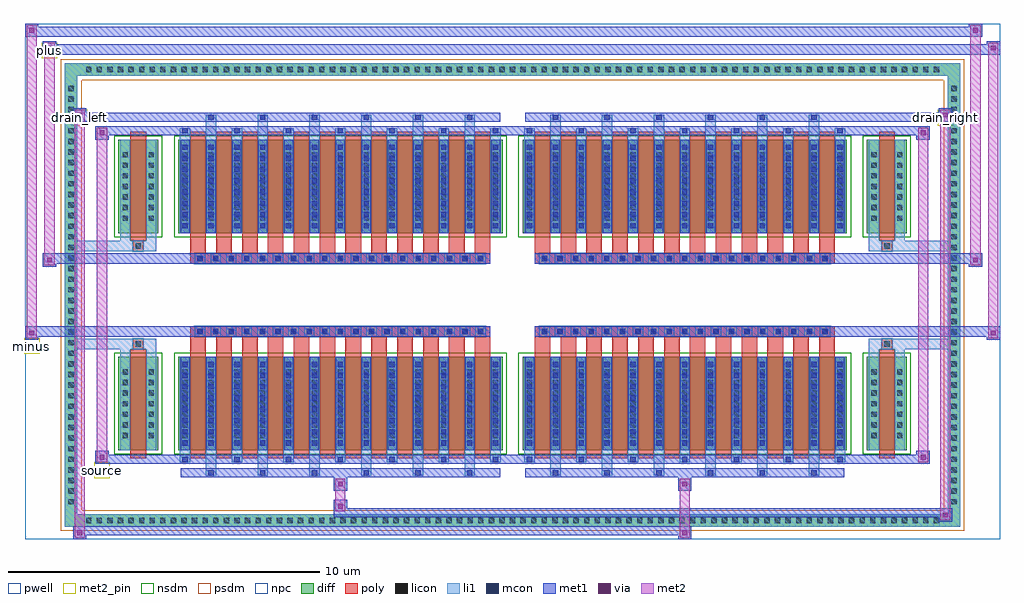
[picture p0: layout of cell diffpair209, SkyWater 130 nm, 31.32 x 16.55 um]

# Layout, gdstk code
import gdstk
lib = gdstk.Library(unit=1e-6, precision=5e-09)
def R(c, l, rs):  # rectangles x0, y0, x1, y1
    for r in rs: c.add(gdstk.rectangle(r[:2], r[2:], *l))
def A(c, l, x, y, w, h, nx, ny, dx, dy):  # array of equal rectangles
    R(c, l, [(x+i*dx, y+j*dy, x+i*dx+w, y+j*dy+h) for i in range(nx) for j in range(ny)])
def P(c, l, *ps):  # polygons
    for p in ps: c.add(gdstk.Polygon(p, *l))
pwell = (64, 44)
diff = (65, 20)
poly = (66, 20)
licon = (66, 44)
li1 = (67, 20)
mcon = (67, 44)
met1 = (68, 20)
via = (68, 44)
met2_pin = (69, 16)
met2 = (69, 20)
nsdm = (93, 44)
psdm = (94, 20)
npc = (95, 20)

diffpair209 = lib.new_cell('diffpair209')
R(diffpair209, pwell, [(-15.64,-7.84,15.64,8.71), (-12.96,-6.03,-0.01,-0.805), (0.01,-6.03,12.96,-0.805), (-12.96,0.805,-0.01,6.03), (0.01,0.805,12.96,6.03)])
A(diffpair209, diff, -13.805, -7.44, 0.41, 0.41, 81, 2, 0.34, 14.47)
A(diffpair209, diff, -14.37, -6.835, 0.41, 0.41, 1, 40, 0, 0.34)
A(diffpair209, diff, 13.96, -6.835, 0.41, 0.41, 1, 40, 0, 0.34)
R(diffpair209, diff, [(-13.805,-7.44,13.805,-7.03), (-14.37,-6.835,-13.96,6.835), (13.96,-6.835,14.37,6.835), (-12.65,-4.985,-11.37,-1.985), (-10.73,-4.985,-0.32,-1.985), (0.32,-4.985,10.73,-1.985), (11.37,-4.985,12.65,-1.985), (-12.65,1.985,-11.37,4.985), (-10.73,1.985,-0.32,4.985), (0.32,1.985,10.73,4.985), (11.37,1.985,12.65,4.985), (-13.805,7.03,13.805,7.44)])
P(diffpair209, diff, [(14.37,7.44),(-14.37,7.44),(-14.37,-7.03),(-13.96,-7.03),(-13.96,7.03),(13.96,7.03),(13.96,-7.03),(-13.96,-7.03),(-14.37,-7.03),(-14.37,-7.44),(14.37,-7.44)])
A(diffpair209, poly, -10.34, -5.235, 0.5, 3.5, 12, 2, 0.83, 6.97)
A(diffpair209, poly, 0.71, -5.235, 0.5, 3.5, 12, 2, 0.83, 6.97)
A(diffpair209, poly, -10.34, -1.735, 0.5, 0.4, 12, 2, 0.83, 3.07)
A(diffpair209, poly, 0.71, -1.735, 0.5, 0.4, 12, 2, 0.83, 3.07)
A(diffpair209, poly, -10.19, -1.335, 0.33, 0.33, 19, 2, 0.5, 2.34)
A(diffpair209, poly, 0.86, -1.335, 0.33, 0.33, 19, 2, 0.5, 2.34)
R(diffpair209, poly, [(-12.26,-5.235,-11.76,-1.735), (11.76,-5.235,12.26,-1.735), (-12.175,-1.735,-11.845,-1.405), (-12.175,-1.735,-11.845,-1.405), (11.845,-1.735,12.175,-1.405), (11.845,-1.735,12.175,-1.405), (-10.34,-1.335,-0.71,-1.005), (0.71,-1.335,10.34,-1.005), (-10.34,1.005,-0.71,1.335), (0.71,1.005,10.34,1.335), (-12.175,1.405,-11.845,1.735), (-12.175,1.405,-11.845,1.735), (11.845,1.405,12.175,1.735), (11.845,1.405,12.175,1.735), (-12.26,1.735,-11.76,5.235), (11.76,1.735,12.26,5.235)])
A(diffpair209, licon, -13.685, -7.32, 0.17, 0.17, 81, 2, 0.34, 14.47)
A(diffpair209, licon, -14.25, -6.715, 0.17, 0.17, 1, 40, 0, 0.34)
A(diffpair209, licon, 14.08, -6.715, 0.17, 0.17, 1, 40, 0, 0.34)
A(diffpair209, licon, -12.51, -4.59, 0.17, 0.17, 1, 7, 0, 0.34)
A(diffpair209, licon, -11.68, -4.59, 0.17, 0.17, 1, 7, 0, 0.34)
A(diffpair209, licon, -10.59, -4.59, 0.17, 0.17, 13, 7, 0.83, 0.34)
A(diffpair209, licon, 0.46, -4.59, 0.17, 0.17, 13, 7, 0.83, 0.34)
A(diffpair209, licon, 11.51, -4.59, 0.17, 0.17, 1, 7, 0, 0.34)
A(diffpair209, licon, 12.34, -4.59, 0.17, 0.17, 1, 7, 0, 0.34)
A(diffpair209, licon, -10.11, -1.255, 0.17, 0.17, 19, 2, 0.5, 2.34)
A(diffpair209, licon, 0.94, -1.255, 0.17, 0.17, 19, 2, 0.5, 2.34)
A(diffpair209, licon, -12.51, 2.38, 0.17, 0.17, 1, 7, 0, 0.34)
A(diffpair209, licon, -11.68, 2.38, 0.17, 0.17, 1, 7, 0, 0.34)
A(diffpair209, licon, -10.59, 2.38, 0.17, 0.17, 13, 7, 0.83, 0.34)
A(diffpair209, licon, 0.46, 2.38, 0.17, 0.17, 13, 7, 0.83, 0.34)
A(diffpair209, licon, 11.51, 2.38, 0.17, 0.17, 1, 7, 0, 0.34)
A(diffpair209, licon, 12.34, 2.38, 0.17, 0.17, 1, 7, 0, 0.34)
R(diffpair209, licon, [(-12.095,-1.655,-11.925,-1.485), (11.925,-1.655,12.095,-1.485), (-12.095,1.485,-11.925,1.655), (11.925,1.485,12.095,1.655)])
A(diffpair209, li1, -13.765, -7.4, 0.33, 0.33, 81, 2, 0.34, 14.47)
A(diffpair209, li1, -14.33, -6.795, 0.33, 0.33, 1, 40, 0, 0.34)
A(diffpair209, li1, 14, -6.795, 0.33, 0.33, 1, 40, 0, 0.34)
A(diffpair209, li1, -9.84, -5.79, 0.33, 0.805, 6, 2, 1.66, 10.775)
A(diffpair209, li1, -9.76, -5.79, 0.17, 0.17, 6, 2, 1.66, 11.41)
A(diffpair209, li1, 1.21, -5.79, 0.33, 0.805, 6, 2, 1.66, 10.775)
A(diffpair209, li1, 1.29, -5.79, 0.17, 0.17, 6, 2, 1.66, 11.41)
A(diffpair209, li1, -10.67, -5.36, 0.33, 0.375, 7, 2, 1.66, 10.345)
A(diffpair209, li1, -10.59, -5.36, 0.17, 0.17, 7, 2, 1.66, 10.55)
A(diffpair209, li1, 0.38, -5.36, 0.33, 0.375, 7, 2, 1.66, 10.345)
A(diffpair209, li1, 0.46, -5.36, 0.17, 0.17, 7, 2, 1.66, 10.55)
A(diffpair209, li1, -10.67, -4.985, 0.33, 3, 13, 2, 0.83, 6.97)
A(diffpair209, li1, 0.38, -4.985, 0.33, 3, 13, 2, 0.83, 6.97)
A(diffpair209, li1, -10.59, -4.83, 0.17, 0.17, 13, 8, 0.83, 0.36)
A(diffpair209, li1, -10.59, -4.83, 0.17, 2.69, 13, 2, 0.83, 6.97)
A(diffpair209, li1, 0.46, -4.83, 0.17, 0.17, 13, 8, 0.83, 0.36)
A(diffpair209, li1, 0.46, -4.83, 0.17, 2.69, 13, 2, 0.83, 6.97)
A(diffpair209, li1, -12.59, -4.67, 0.33, 0.33, 1, 7, 0, 0.34)
A(diffpair209, li1, -11.76, -4.67, 0.33, 0.33, 1, 7, 0, 0.34)
A(diffpair209, li1, -10.67, -4.67, 0.33, 0.33, 13, 7, 0.83, 0.34)
A(diffpair209, li1, 0.38, -4.67, 0.33, 0.33, 13, 7, 0.83, 0.34)
A(diffpair209, li1, 11.43, -4.67, 0.33, 0.33, 1, 7, 0, 0.34)
A(diffpair209, li1, 12.26, -4.67, 0.33, 0.33, 1, 7, 0, 0.34)
A(diffpair209, li1, -10.19, -1.335, 0.33, 0.33, 19, 2, 0.5, 2.34)
A(diffpair209, li1, 0.86, -1.335, 0.33, 0.33, 19, 2, 0.5, 2.34)
A(diffpair209, li1, -10.59, 2.14, 0.17, 0.17, 13, 8, 0.83, 0.36)
A(diffpair209, li1, 0.46, 2.14, 0.17, 0.17, 13, 8, 0.83, 0.36)
A(diffpair209, li1, -12.59, 2.3, 0.33, 0.33, 1, 7, 0, 0.34)
A(diffpair209, li1, -11.76, 2.3, 0.33, 0.33, 1, 7, 0, 0.34)
A(diffpair209, li1, -10.67, 2.3, 0.33, 0.33, 13, 7, 0.83, 0.34)
A(diffpair209, li1, 0.38, 2.3, 0.33, 0.33, 13, 7, 0.83, 0.34)
A(diffpair209, li1, 11.43, 2.3, 0.33, 0.33, 1, 7, 0, 0.34)
A(diffpair209, li1, 12.26, 2.3, 0.33, 0.33, 1, 7, 0, 0.34)
R(diffpair209, li1, [(-14.37,-7.44,-13.96,-7.03), (-14.37,-7.44,-13.96,-7.03), (-13.96,-7.44,13.96,-7.03), (13.96,-7.44,14.37,-7.03), (13.96,-7.44,14.37,-7.03), (-14.37,-7.03,-13.96,7.03), (13.96,-7.03,14.37,7.03), (-12.59,-4.985,-12.26,-1.985), (-11.76,-4.985,-11.43,-1.985), (11.43,-4.985,11.76,-1.985), (12.26,-4.985,12.59,-1.985), (-12.59,-1.985,-12.26,-1.405), (-11.76,-1.985,-11.43,-1.405), (11.43,-1.985,11.76,-1.405), (12.26,-1.985,12.59,-1.405), (-14.37,-1.735,-12.175,-1.405), (-12.59,-1.735,-12.175,-1.405), (-12.175,-1.735,-11.845,-1.405), (-11.845,-1.735,-11.43,-1.405), (11.43,-1.735,11.845,-1.405), (11.845,-1.735,12.175,-1.405), (11.845,-1.735,14.37,-1.405), (12.175,-1.735,12.59,-1.405), (-14.37,1.405,-12.175,1.735), (-12.59,1.405,-12.175,1.735), (-12.59,1.405,-12.26,1.985), (-12.175,1.405,-11.845,1.735), (-11.845,1.405,-11.43,1.735), (-11.76,1.405,-11.43,1.985), (11.43,1.405,11.845,1.735), (11.43,1.405,11.76,1.985), (11.845,1.405,12.175,1.735), (11.845,1.405,14.37,1.735), (12.175,1.405,12.59,1.735), (12.26,1.405,12.59,1.985), (-12.59,1.985,-12.26,4.985), (-11.76,1.985,-11.43,4.985), (11.43,1.985,11.76,4.985), (12.26,1.985,12.59,4.985), (-14.37,7.03,-13.96,7.44), (-14.37,7.03,-13.96,7.44), (-13.96,7.03,13.96,7.44), (13.96,7.03,14.37,7.44), (13.96,7.03,14.37,7.44)])
A(diffpair209, mcon, -9.76, -5.79, 0.17, 0.17, 6, 2, 1.66, 11.41)
A(diffpair209, mcon, 1.29, -5.79, 0.17, 0.17, 6, 2, 1.66, 11.41)
A(diffpair209, mcon, -10.59, -5.36, 0.17, 0.17, 7, 2, 1.66, 10.55)
A(diffpair209, mcon, 0.46, -5.36, 0.17, 0.17, 7, 2, 1.66, 10.55)
A(diffpair209, mcon, -10.59, -4.83, 0.17, 0.17, 13, 8, 0.83, 0.36)
A(diffpair209, mcon, 0.46, -4.83, 0.17, 0.17, 13, 8, 0.83, 0.36)
A(diffpair209, mcon, -10.11, -1.255, 0.17, 0.17, 19, 2, 0.5, 2.34)
A(diffpair209, mcon, 0.94, -1.255, 0.17, 0.17, 19, 2, 0.5, 2.34)
A(diffpair209, mcon, -10.59, 2.14, 0.17, 0.17, 13, 8, 0.83, 0.36)
A(diffpair209, mcon, 0.46, 2.14, 0.17, 0.17, 13, 8, 0.83, 0.36)
A(diffpair209, met1, -9.82, -5.85, 0.29, 0.29, 6, 2, 1.66, 11.41)
A(diffpair209, met1, 1.23, -5.85, 0.29, 0.29, 6, 2, 1.66, 11.41)
A(diffpair209, met1, -10.65, -5.42, 0.29, 0.29, 7, 2, 1.66, 10.55)
A(diffpair209, met1, 0.4, -5.42, 0.29, 0.29, 7, 2, 1.66, 10.55)
A(diffpair209, met1, -10.65, -4.985, 0.29, 3, 13, 2, 0.83, 6.97)
A(diffpair209, met1, 0.4, -4.985, 0.29, 3, 13, 2, 0.83, 6.97)
A(diffpair209, met1, -10.65, -4.89, 0.29, 0.29, 13, 8, 0.83, 0.36)
A(diffpair209, met1, 0.4, -4.89, 0.29, 0.29, 13, 8, 0.83, 0.36)
A(diffpair209, met1, -10.17, -1.315, 0.29, 0.29, 19, 2, 0.5, 2.34)
A(diffpair209, met1, 0.88, -1.315, 0.29, 0.29, 19, 2, 0.5, 2.34)
A(diffpair209, met1, -10.65, 2.08, 0.29, 0.29, 13, 8, 0.83, 0.36)
A(diffpair209, met1, 0.4, 2.08, 0.29, 0.29, 13, 8, 0.83, 0.36)
R(diffpair209, met1, [(-14.1,-7.84,-13.67,-7.41), (5.31,-7.84,5.74,-7.41), (-14.1,-7.7,5.74,-7.41), (13.67,-7.27,14.1,-6.84), (-5.74,-7.13,14.1,-6.84), (-5.74,-6.99,-5.31,-6.56), (-5.74,-6.28,-5.31,-5.85), (5.31,-6.28,5.74,-5.85), (-10.65,-5.85,-0.4,-5.56), (0.4,-5.85,10.65,-5.56), (-13.39,-5.42,-12.96,-4.99), (-13.39,-5.42,-10.65,-5.13), (-10.65,-5.42,-0.4,-5.13), (-0.4,-5.42,0.4,-5.13), (0.4,-5.42,10.65,-5.13), (10.65,-5.42,13.39,-5.13), (12.96,-5.42,13.39,-4.99), (-15.64,-1.435,-15.21,-1.005), (15.21,-1.435,15.64,-1.005), (-15.64,-1.335,-0.71,-1.005), (-10.34,-1.335,-0.71,-1.005), (0.71,-1.335,10.34,-1.005), (0.71,-1.335,15.64,-1.005), (-15.07,0.905,-14.64,1.335), (14.64,0.905,15.07,1.335), (-15.07,1.005,-10.34,1.335), (-10.34,1.005,-0.71,1.335), (0.71,1.005,10.34,1.335), (10.34,1.005,15.07,1.335), (-13.39,4.99,-12.96,5.42), (12.96,4.99,13.39,5.42), (-13.39,5.13,-10.65,5.42), (-10.65,5.13,-0.4,5.42), (-0.4,5.13,0.4,5.42), (0.4,5.13,10.65,5.42), (10.65,5.13,13.39,5.42), (-14.1,5.56,-13.67,5.99), (-14.1,5.56,-10.65,5.85), (-10.65,5.56,-0.4,5.85), (0.4,5.56,10.65,5.85), (10.65,5.56,14.1,5.85), (13.67,5.56,14.1,5.99), (-15.07,7.71,-14.64,8.14), (-15.07,7.71,-12.96,8.04), (-12.96,7.71,12.96,8.04), (12.96,7.71,15.64,8.04), (15.21,7.71,15.64,8.14), (-15.64,8.28,-15.21,8.71), (-15.64,8.28,-12.96,8.61), (-12.96,8.28,12.96,8.61), (12.96,8.28,15.07,8.61), (14.64,8.28,15.07,8.71)])
R(diffpair209, via, [(-13.96,-7.7,-13.81,-7.55), (5.45,-7.7,5.6,-7.55), (13.81,-7.13,13.96,-6.98), (-5.6,-6.85,-5.45,-6.7), (-5.6,-6.14,-5.45,-5.99), (5.45,-6.14,5.6,-5.99), (-13.25,-5.28,-13.1,-5.13), (13.1,-5.28,13.25,-5.13), (-15.5,-1.295,-15.35,-1.145), (15.35,-1.295,15.5,-1.145), (-14.93,1.045,-14.78,1.195), (14.78,1.045,14.93,1.195), (-13.25,5.13,-13.1,5.28), (13.1,5.13,13.25,5.28), (-13.96,5.7,-13.81,5.85), (13.81,5.7,13.96,5.85), (-14.93,7.85,-14.78,8), (15.35,7.85,15.5,8), (-15.5,8.42,-15.35,8.57), (14.78,8.42,14.93,8.57)])
R(diffpair209, met2_pin, [(-13.425,-5.87,-12.925,-5.37), (-15.675,-1.885,-15.175,-1.385), (-14.135,5.44,-13.635,5.94), (13.635,5.44,14.135,5.94), (-15.105,7.59,-14.605,8.09)])
R(diffpair209, met2, [(-14.05,-7.79,-13.72,-7.46), (-14.05,-7.79,-13.72,5.94), (5.36,-7.79,5.69,-7.46), (5.36,-7.46,5.69,-6.23), (13.72,-7.22,14.05,-6.89), (13.72,-7.22,14.05,5.94), (-5.69,-6.94,-5.36,-6.61), (-5.69,-6.61,-5.36,-6.23), (-5.69,-6.23,-5.36,-5.9), (5.36,-6.23,5.69,-5.9), (-13.34,-5.37,-13.01,-5.04), (-13.34,-5.37,-13.01,5.37), (13.01,-5.37,13.34,-5.04), (13.01,-5.37,13.34,5.37), (-15.59,-1.385,-15.26,-1.055), (-15.59,-1.385,-15.26,8.66), (15.26,-1.385,15.59,-1.055), (15.26,-1.385,15.59,8.09), (-15.02,0.955,-14.69,1.285), (-15.02,0.955,-14.69,8.09), (14.69,0.955,15.02,1.285), (14.69,0.955,15.02,8.66), (-13.34,5.04,-13.01,5.37), (13.01,5.04,13.34,5.37), (-14.05,5.61,-13.72,5.94), (13.72,5.61,14.05,5.94), (-15.02,7.76,-14.69,8.09), (15.26,7.76,15.59,8.09), (-15.59,8.33,-15.26,8.66), (14.69,8.33,15.02,8.66)])
P(diffpair209, met2, [(15.59,-1.385),(15.59,-1.385),(15.59,-1.055),(15.59,-1.055)],
  [(15.59,7.76),(15.59,7.76),(15.59,8.09),(15.59,8.09)],
  [(-15.26,-1.385),(-15.26,-1.385),(-15.26,-1.055),(-15.26,-1.055)],
  [(-15.26,8.33),(-15.26,8.33),(-15.26,8.66),(-15.26,8.66)],
  [(15.02,0.955),(15.02,0.955),(15.02,1.285),(15.02,1.285)],
  [(15.02,8.33),(15.02,8.33),(15.02,8.66),(15.02,8.66)],
  [(-14.69,0.955),(-14.69,0.955),(-14.69,1.285),(-14.69,1.285)],
  [(-14.69,7.76),(-14.69,7.76),(-14.69,8.09),(-14.69,8.09)],
  [(-13.72,-7.79),(-13.72,-7.79),(-13.72,-7.46),(-13.72,-7.46)],
  [(-13.72,5.61),(-13.72,5.61),(-13.72,5.94),(-13.72,5.94)],
  [(14.05,-7.22),(14.05,-7.22),(14.05,-6.89),(14.05,-6.89)],
  [(14.05,5.61),(14.05,5.61),(14.05,5.94),(14.05,5.94)],
  [(-13.01,-5.37),(-13.01,-5.37),(-13.01,-5.04),(-13.01,-5.04)],
  [(-13.01,5.04),(-13.01,5.04),(-13.01,5.37),(-13.01,5.37)],
  [(13.34,-5.37),(13.34,-5.37),(13.34,-5.04),(13.34,-5.04)],
  [(13.34,5.04),(13.34,5.04),(13.34,5.37),(13.34,5.37)])
R(diffpair209, nsdm, [(-12.78,-5.115,-11.24,-1.855), (-10.86,-5.115,-0.19,-1.855), (0.19,-5.115,10.86,-1.855), (11.24,-5.115,12.78,-1.855), (-12.78,1.855,-11.24,5.115), (-10.86,1.855,-0.19,5.115), (0.19,1.855,10.86,5.115), (11.24,1.855,12.78,5.115)])
P(diffpair209, psdm, [(14.5,7.57),(-14.5,7.57),(-14.5,-6.9),(-13.83,-6.9),(-13.83,6.9),(13.83,6.9),(13.83,-6.9),(-13.83,-6.9),(-14.5,-6.9),(-14.5,-7.57),(14.5,-7.57)])
A(diffpair209, npc, -10.21, -1.355, 0.37, 0.37, 19, 2, 0.5, 2.34)
A(diffpair209, npc, 0.84, -1.355, 0.37, 0.37, 19, 2, 0.5, 2.34)
R(diffpair209, npc, [(-12.195,-1.755,-11.825,-1.385), (11.825,-1.755,12.195,-1.385), (-10.21,-1.355,-9.34,-0.985), (-10.21,-1.355,-9.34,-0.985), (-9.71,-1.355,-8.84,-0.985), (-9.71,-1.355,-8.84,-0.985), (-9.21,-1.355,-8.34,-0.985), (-9.21,-1.355,-8.34,-0.985), (-8.71,-1.355,-7.84,-0.985), (-8.71,-1.355,-7.84,-0.985), (-8.21,-1.355,-7.34,-0.985), (-8.21,-1.355,-7.34,-0.985), (-7.71,-1.355,-6.84,-0.985), (-7.71,-1.355,-6.84,-0.985), (-7.21,-1.355,-6.34,-0.985), (-7.21,-1.355,-6.34,-0.985), (-6.71,-1.355,-5.84,-0.985), (-6.71,-1.355,-5.84,-0.985), (-6.21,-1.355,-5.34,-0.985), (-6.21,-1.355,-5.34,-0.985), (-5.71,-1.355,-4.84,-0.985), (-5.71,-1.355,-4.84,-0.985), (-5.21,-1.355,-4.34,-0.985), (-5.21,-1.355,-4.34,-0.985), (-4.71,-1.355,-3.84,-0.985), (-4.71,-1.355,-3.84,-0.985), (-4.21,-1.355,-3.34,-0.985), (-4.21,-1.355,-3.34,-0.985), (-3.71,-1.355,-2.84,-0.985), (-3.71,-1.355,-2.84,-0.985), (-3.21,-1.355,-2.34,-0.985), (-3.21,-1.355,-2.34,-0.985), (-2.71,-1.355,-1.84,-0.985), (-2.71,-1.355,-1.84,-0.985), (-2.21,-1.355,-1.34,-0.985), (-2.21,-1.355,-1.34,-0.985), (-1.71,-1.355,-0.84,-0.985), (-1.71,-1.355,-0.84,-0.985), (0.84,-1.355,1.71,-0.985), (0.84,-1.355,1.71,-0.985), (1.34,-1.355,2.21,-0.985), (1.34,-1.355,2.21,-0.985), (1.84,-1.355,2.71,-0.985), (1.84,-1.355,2.71,-0.985), (2.34,-1.355,3.21,-0.985), (2.34,-1.355,3.21,-0.985), (2.84,-1.355,3.71,-0.985), (2.84,-1.355,3.71,-0.985), (3.34,-1.355,4.21,-0.985), (3.34,-1.355,4.21,-0.985), (3.84,-1.355,4.71,-0.985), (3.84,-1.355,4.71,-0.985), (4.34,-1.355,5.21,-0.985), (4.34,-1.355,5.21,-0.985), (4.84,-1.355,5.71,-0.985), (4.84,-1.355,5.71,-0.985), (5.34,-1.355,6.21,-0.985), (5.34,-1.355,6.21,-0.985), (5.84,-1.355,6.71,-0.985), (5.84,-1.355,6.71,-0.985), (6.34,-1.355,7.21,-0.985), (6.34,-1.355,7.21,-0.985), (6.84,-1.355,7.71,-0.985), (6.84,-1.355,7.71,-0.985), (7.34,-1.355,8.21,-0.985), (7.34,-1.355,8.21,-0.985), (7.84,-1.355,8.71,-0.985), (7.84,-1.355,8.71,-0.985), (8.34,-1.355,9.21,-0.985), (8.34,-1.355,9.21,-0.985), (8.84,-1.355,9.71,-0.985), (8.84,-1.355,9.71,-0.985), (9.34,-1.355,10.21,-0.985), (9.34,-1.355,10.21,-0.985), (-10.21,0.985,-9.34,1.355), (-10.21,0.985,-9.34,1.355), (-9.71,0.985,-8.84,1.355), (-9.71,0.985,-8.84,1.355), (-9.21,0.985,-8.34,1.355), (-9.21,0.985,-8.34,1.355), (-8.71,0.985,-7.84,1.355), (-8.71,0.985,-7.84,1.355), (-8.21,0.985,-7.34,1.355), (-8.21,0.985,-7.34,1.355), (-7.71,0.985,-6.84,1.355), (-7.71,0.985,-6.84,1.355), (-7.21,0.985,-6.34,1.355), (-7.21,0.985,-6.34,1.355), (-6.71,0.985,-5.84,1.355), (-6.71,0.985,-5.84,1.355), (-6.21,0.985,-5.34,1.355), (-6.21,0.985,-5.34,1.355), (-5.71,0.985,-4.84,1.355), (-5.71,0.985,-4.84,1.355), (-5.21,0.985,-4.34,1.355), (-5.21,0.985,-4.34,1.355), (-4.71,0.985,-3.84,1.355), (-4.71,0.985,-3.84,1.355), (-4.21,0.985,-3.34,1.355), (-4.21,0.985,-3.34,1.355), (-3.71,0.985,-2.84,1.355), (-3.71,0.985,-2.84,1.355), (-3.21,0.985,-2.34,1.355), (-3.21,0.985,-2.34,1.355), (-2.71,0.985,-1.84,1.355), (-2.71,0.985,-1.84,1.355), (-2.21,0.985,-1.34,1.355), (-2.21,0.985,-1.34,1.355), (-1.71,0.985,-0.84,1.355), (-1.71,0.985,-0.84,1.355), (0.84,0.985,1.71,1.355), (0.84,0.985,1.71,1.355), (1.34,0.985,2.21,1.355), (1.34,0.985,2.21,1.355), (1.84,0.985,2.71,1.355), (1.84,0.985,2.71,1.355), (2.34,0.985,3.21,1.355), (2.34,0.985,3.21,1.355), (2.84,0.985,3.71,1.355), (2.84,0.985,3.71,1.355), (3.34,0.985,4.21,1.355), (3.34,0.985,4.21,1.355), (3.84,0.985,4.71,1.355), (3.84,0.985,4.71,1.355), (4.34,0.985,5.21,1.355), (4.34,0.985,5.21,1.355), (4.84,0.985,5.71,1.355), (4.84,0.985,5.71,1.355), (5.34,0.985,6.21,1.355), (5.34,0.985,6.21,1.355), (5.84,0.985,6.71,1.355), (5.84,0.985,6.71,1.355), (6.34,0.985,7.21,1.355), (6.34,0.985,7.21,1.355), (6.84,0.985,7.71,1.355), (6.84,0.985,7.71,1.355), (7.34,0.985,8.21,1.355), (7.34,0.985,8.21,1.355), (7.84,0.985,8.71,1.355), (7.84,0.985,8.71,1.355), (8.34,0.985,9.21,1.355), (8.34,0.985,9.21,1.355), (8.84,0.985,9.71,1.355), (8.84,0.985,9.71,1.355), (9.34,0.985,10.21,1.355), (9.34,0.985,10.21,1.355), (-12.195,1.385,-11.825,1.755), (11.825,1.385,12.195,1.755)])
diffpair209.add(gdstk.Label('minus', (-15.425,-1.635), layer=69, texttype=5))
diffpair209.add(gdstk.Label('drain_right', (13.885,5.69), layer=69, texttype=5))
diffpair209.add(gdstk.Label('drain_left', (-13.885,5.69), layer=69, texttype=5))
diffpair209.add(gdstk.Label('source', (-13.175,-5.62), layer=69, texttype=5))
diffpair209.add(gdstk.Label('plus', (-14.855,7.84), layer=69, texttype=5))

lib.write_gds('diffpair209.gds')
